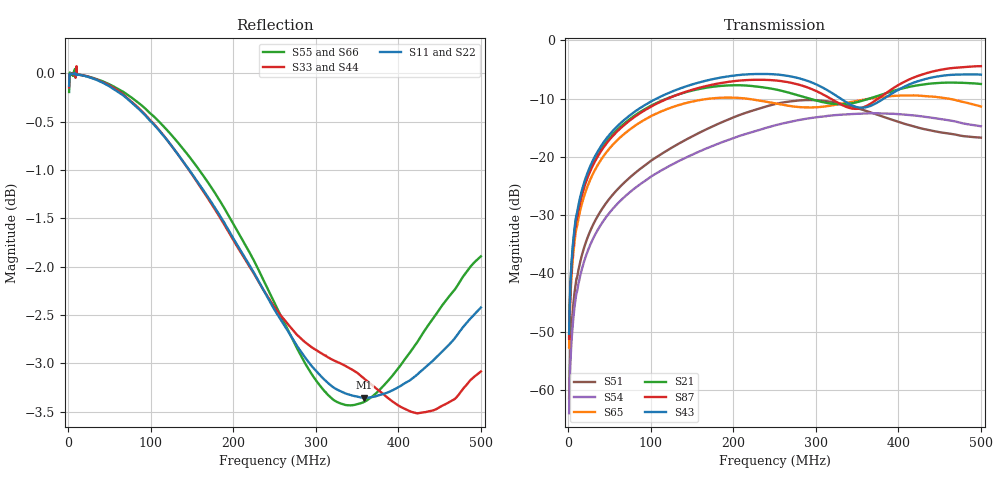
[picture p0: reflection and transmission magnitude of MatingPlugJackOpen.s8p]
!Agilent Technologies,M9370A,MY54322275,A.02.50.04
!Agilent M9370A: A.02.50.04
!Date: Friday, April 06, 2018 11:14:38
!Correction: S11(Full 8 Port(1,2,3,4,5,6,7,8))
!S12(Full 8 Port(1,2,3,4,5,6,7,8))
!S13(Full 8 Port(1,2,3,4,5,6,7,8))
!S14(Full 8 Port(1,2,3,4,5,6,7,8))
!S15(Full 8 Port(1,2,3,4,5,6,7,8))
!S16(Full 8 Port(1,2,3,4,5,6,7,8))
!S17(Full 8 Port(1,2,3,4,5,6,7,8))
!S18(Full 8 Port(1,2,3,4,5,6,7,8))
!S21(Full 8 Port(1,2,3,4,5,6,7,8))
!S22(Full 8 Port(1,2,3,4,5,6,7,8))
!S23(Full 8 Port(1,2,3,4,5,6,7,8))
!S24(Full 8 Port(1,2,3,4,5,6,7,8))
!S25(Full 8 Port(1,2,3,4,5,6,7,8))
!S26(Full 8 Port(1,2,3,4,5,6,7,8))
!S27(Full 8 Port(1,2,3,4,5,6,7,8))
!S28(Full 8 Port(1,2,3,4,5,6,7,8))
!S31(Full 8 Port(1,2,3,4,5,6,7,8))
!S32(Full 8 Port(1,2,3,4,5,6,7,8))
!S33(Full 8 Port(1,2,3,4,5,6,7,8))
!S34(Full 8 Port(1,2,3,4,5,6,7,8))
!S35(Full 8 Port(1,2,3,4,5,6,7,8))
!S36(Full 8 Port(1,2,3,4,5,6,7,8))
!S37(Full 8 Port(1,2,3,4,5,6,7,8))
!S38(Full 8 Port(1,2,3,4,5,6,7,8))
!S41(Full 8 Port(1,2,3,4,5,6,7,8))
!S42(Full 8 Port(1,2,3,4,5,6,7,8))
!S43(Full 8 Port(1,2,3,4,5,6,7,8))
!S44(Full 8 Port(1,2,3,4,5,6,7,8))
!S45(Full 8 Port(1,2,3,4,5,6,7,8))
!S46(Full 8 Port(1,2,3,4,5,6,7,8))
!S47(Full 8 Port(1,2,3,4,5,6,7,8))
!S48(Full 8 Port(1,2,3,4,5,6,7,8))
!S51(Full 8 Port(1,2,3,4,5,6,7,8))
!S52(Full 8 Port(1,2,3,4,5,6,7,8))
!S53(Full 8 Port(1,2,3,4,5,6,7,8))
!S54(Full 8 Port(1,2,3,4,5,6,7,8))
!S55(Full 8 Port(1,2,3,4,5,6,7,8))
!S56(Full 8 Port(1,2,3,4,5,6,7,8))
!S57(Full 8 Port(1,2,3,4,5,6,7,8))
!S58(Full 8 Port(1,2,3,4,5,6,7,8))
!S61(Full 8 Port(1,2,3,4,5,6,7,8))
!S62(Full 8 Port(1,2,3,4,5,6,7,8))
!S63(Full 8 Port(1,2,3,4,5,6,7,8))
!S64(Full 8 Port(1,2,3,4,5,6,7,8))
!S65(Full 8 Port(1,2,3,4,5,6,7,8))
!S66(Full 8 Port(1,2,3,4,5,6,7,8))
!S67(Full 8 Port(1,2,3,4,5,6,7,8))
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# Hz S  RI  R 50
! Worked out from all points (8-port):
!   1000 points, 1 MHz to 500 MHz, reference 50 ohm
!   strongest paths, dB at 1 MHz, 125.9 MHz, 250.7 MHz, 375.6 MHz, 500 MHz:
!     S43: -50.4, -8.8, -5.9, -10.6, -5.9
!     S87: -51.2, -9.7, -6.9, -10.0, -4.4
!     S21: -50.9, -9.7, -8.4, -9.5, -7.5
!     S65: -52.7, -11.5, -10.8, -9.8, -11.4
!     S54: -64.0, -21.3, -14.6, -12.5, -14.8
!     S51: -61.5, -18.4, -10.9, -12.8, -16.7
!   lowest |S11| = -3.4 dB at 358.6 MHz (marker M1), VSWR 5.24, Z = 9.99 + j10.7 ohm
!   |S11| at or under -10 dB: nowhere
